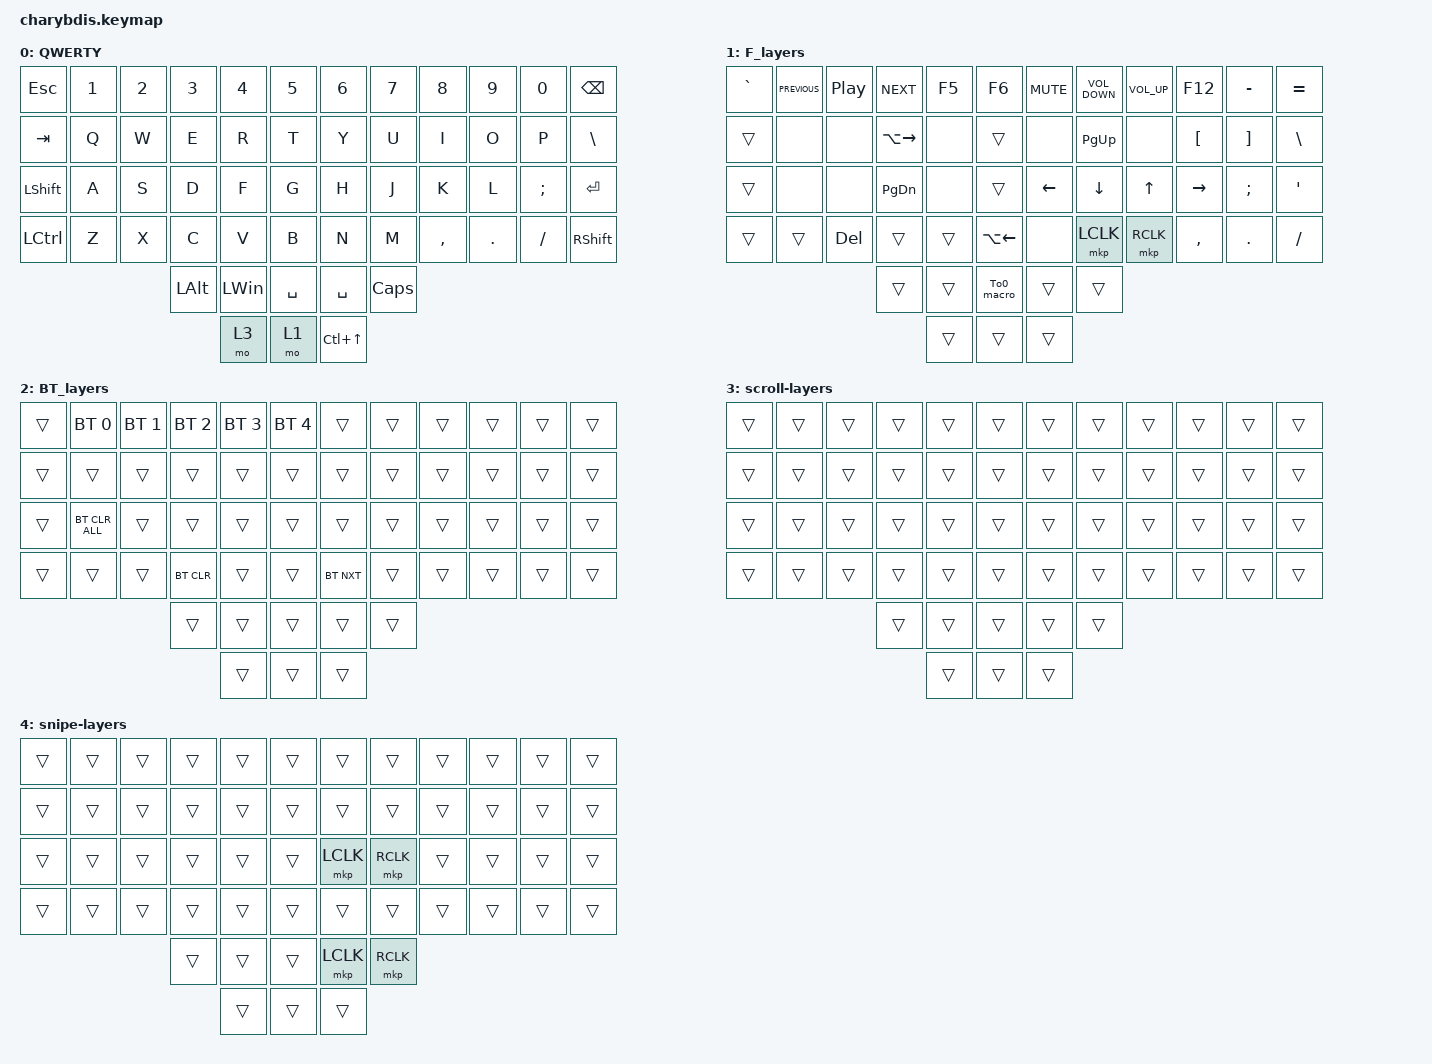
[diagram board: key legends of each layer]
#include <behaviors.dtsi>
#include <dt-bindings/zmk/bt.h>
#include <dt-bindings/zmk/keys.h>
#include <dt-bindings/zmk/pointing.h>
#include <dt-bindings/zmk/rgb.h>

&lt {
    tapping-term-ms = <200>;
    flavor = "balanced";
    quick-tap-ms = <150>;
};

/ {
    macros {
        To1_macro: To1_macro {
            compatible = "zmk,behavior-macro";
            label = "To1_macro";
            #binding-cells = <0>;
            bindings = <&rgb_ug RGB_EFF &rgb_ug RGB_COLOR_HSB(128,100,50) &to 1>;
        };

        To0_macro: To0_macro {
            compatible = "zmk,behavior-macro";
            label = "To0_macro";
            #binding-cells = <0>;
            bindings = <&rgb_ug RGB_EFR &to 0>;
        };

        To2_macro: To2_macro {
            compatible = "zmk,behavior-macro";
            label = "To2_macro";
            #binding-cells = <0>;
            bindings =
                <&to 2>,
                <&macro_wait_time 30>,
                <&rgb_ug RGB_COLOR_HSB(250,100,50)>;
        };
    };

    keymap {
        compatible = "zmk,keymap";

        QWERTY {
            bindings = <
&kp ESC           &kp N1  &kp N2  &kp N3        &kp N4        &kp N5       &kp N6            &kp N7        &kp N8     &kp N9   &kp N0    &kp BACKSPACE
&kp TAB           &kp Q   &kp W   &kp E         &kp R         &kp T        &kp Y             &kp U         &kp I      &kp O    &kp P     &kp BSLH
&kp LEFT_SHIFT    &kp A   &kp S   &kp D         &kp F         &kp G        &kp H             &kp J         &kp K      &kp L    &kp SEMI  &kp ENTER
&kp LEFT_CONTROL  &kp Z   &kp X   &kp C         &kp V         &kp B        &kp N             &kp M         &kp COMMA  &kp DOT  &kp FSLH  &kp RIGHT_SHIFT
                                  &kp LEFT_ALT  &kp LEFT_WIN  &kp SPACE    &kp SPACE         &kp CAPSLOCK
                                                &mo 3         &mo 1        &kp LC(UP_ARROW)
            >;
        };

        F_layers {
            bindings = <
&kp GRAVE  &kp C_PREVIOUS  &kp C_PLAY_PAUSE  &kp C_NEXT     &kp F5  &kp F6          &kp K_MUTE  &kp C_VOLUME_DOWN  &kp C_VOL_UP  &kp F12           &kp MINUS          &kp EQUAL
&trans     &none           &none             &kp LA(RIGHT)  &none   &trans          &none       &kp PAGE_UP        &none         &kp LEFT_BRACKET  &kp RIGHT_BRACKET  &kp BACKSLASH
&trans     &none           &none             &kp PAGE_DOWN  &none   &trans          &kp LEFT    &kp DOWN           &kp UP        &kp RIGHT         &kp SEMICOLON      &kp SINGLE_QUOTE
&trans     &trans          &kp DELETE        &trans         &trans  &kp LA(LEFT)    &none       &mkp LCLK          &mkp RCLK     &kp COMMA         &kp DOT            &kp SLASH
                                             &trans         &trans  &To0_macro      &trans      &trans
                                                            &trans  &trans          &trans
            >;
        };

        BT_layers {
            bindings = <
&trans  &bt BT_SEL 0    &bt BT_SEL 1  &bt BT_SEL 2  &bt BT_SEL 3  &bt BT_SEL 4    &trans      &trans  &trans  &trans  &trans  &trans
&trans  &trans          &trans        &trans        &trans        &trans          &trans      &trans  &trans  &trans  &trans  &trans
&trans  &bt BT_CLR_ALL  &trans        &trans        &trans        &trans          &trans      &trans  &trans  &trans  &trans  &trans
&trans  &trans          &trans        &bt BT_CLR    &trans        &trans          &bt BT_NXT  &trans  &trans  &trans  &trans  &trans
                                      &trans        &trans        &trans          &trans      &trans
                                                    &trans        &trans          &trans
            >;
        };

        scroll-layers {
            bindings = <
&trans  &trans  &trans  &trans  &trans  &trans    &trans  &trans  &trans  &trans  &trans  &trans
&trans  &trans  &trans  &trans  &trans  &trans    &trans  &trans  &trans  &trans  &trans  &trans
&trans  &trans  &trans  &trans  &trans  &trans    &trans  &trans  &trans  &trans  &trans  &trans
&trans  &trans  &trans  &trans  &trans  &trans    &trans  &trans  &trans  &trans  &trans  &trans
                        &trans  &trans  &trans    &trans  &trans
                                &trans  &trans    &trans
            >;
        };

        snipe-layers {
            bindings = <
&trans  &trans  &trans  &trans  &trans  &trans    &trans     &trans     &trans  &trans  &trans  &trans
&trans  &trans  &trans  &trans  &trans  &trans    &trans     &trans     &trans  &trans  &trans  &trans
&trans  &trans  &trans  &trans  &trans  &trans    &mkp LCLK  &mkp RCLK  &trans  &trans  &trans  &trans
&trans  &trans  &trans  &trans  &trans  &trans    &trans     &trans     &trans  &trans  &trans  &trans
                        &trans  &trans  &trans    &mkp LCLK  &mkp RCLK
                                &trans  &trans    &trans
            >;
        };
    };
};
